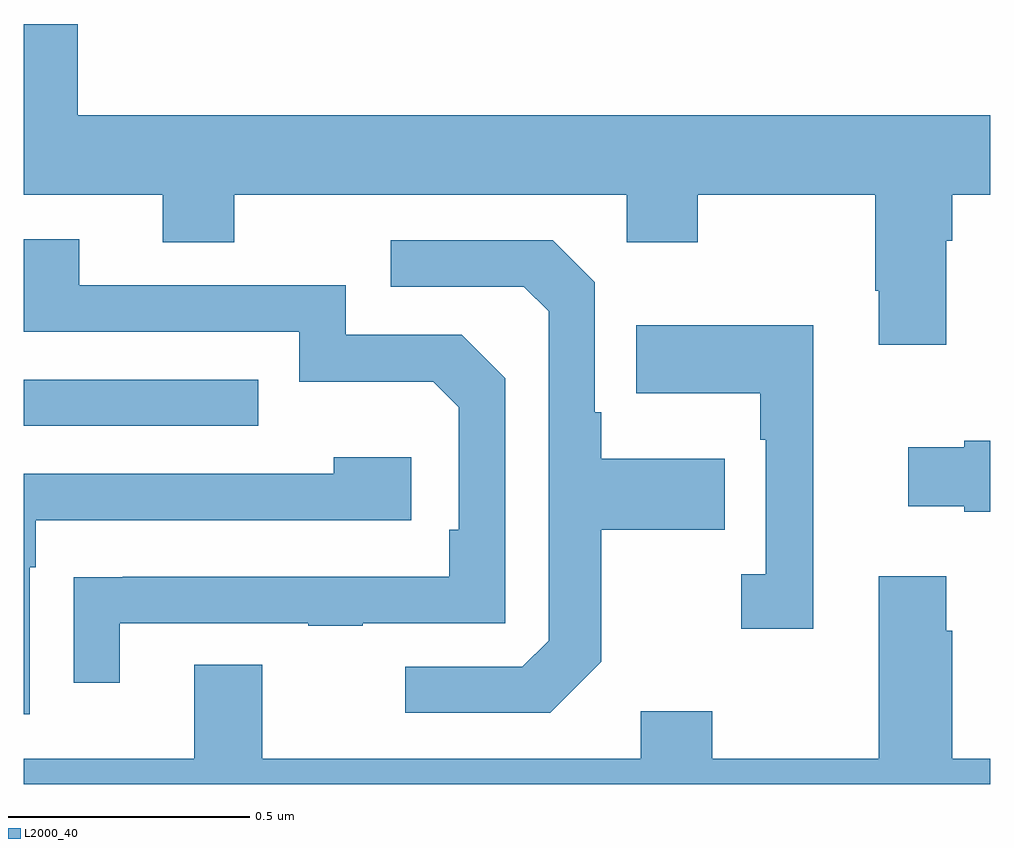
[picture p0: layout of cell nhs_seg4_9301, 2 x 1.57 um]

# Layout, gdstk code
import gdstk
lib = gdstk.Library(unit=1e-6, precision=1e-09)
def R(c, l, rs):  # rectangles x0, y0, x1, y1
    for r in rs: c.add(gdstk.rectangle(r[:2], r[2:], *l))
def P(c, l, *ps):  # polygons
    for p in ps: c.add(gdstk.Polygon(p, *l))
L2000_40 = (2000, 40)

nhs_seg4_9301 = lib.new_cell('nhs_seg4_9301')
R(nhs_seg4_9301, L2000_40, [(225,829.641,225.485,829.737)])
P(nhs_seg4_9301, L2000_40, [(226.909,830.024),(226.922,830.024),(226.922,830.12),(227,830.12),(227,830.284),(225.112,830.284),(225.112,830.473),(225,830.473),(225,830.12),(225.287,830.12),(225.287,830.021),(225.435,830.021),(225.435,830.12),(226.248,830.12),(226.248,830.021),(226.395,830.021),(226.395,830.12),(226.762,830.12),(226.762,829.921),(226.769,829.921),(226.769,829.809),(226.909,829.809)],
  [(225.199,829.233),(225.589,829.233),(225.589,829.228),(225.701,829.228),(225.701,829.233),(225.996,829.233),(225.996,829.74),(225.906,829.83),(225.666,829.83),(225.666,829.932),(225.115,829.932),(225.115,830.028),(225,830.028),(225,829.836),(225.57,829.836),(225.57,829.733),(225.847,829.733),(225.9,829.68),(225.9,829.426),(225.88,829.426),(225.88,829.329),(225.205,829.329),(225.205,829.328),(225.103,829.328),(225.103,829.11),(225.199,829.11)],
  [(226.195,829.153),(226.195,829.426),(226.451,829.426),(226.451,829.573),(226.195,829.573),(226.195,829.669),(226.182,829.669),(226.182,829.938),(226.095,830.025),(225.759,830.025),(225.759,829.929),(226.035,829.929),(226.086,829.878),(226.086,829.197),(226.032,829.143),(225.789,829.143),(225.789,829.047),(226.089,829.047)],
  [(226.634,829.849),(226.267,829.849),(226.267,829.709),(226.524,829.709),(226.524,829.613),(226.536,829.613),(226.536,829.334),(226.485,829.334),(226.485,829.221),(226.634,829.221)],
  [(227,829.61),(226.946,829.61),(226.946,829.597),(226.83,829.597),(226.83,829.475),(226.946,829.475),(226.946,829.463),(227,829.463)],
  [(225.012,829.349),(225.025,829.349),(225.025,829.446),(225.802,829.446),(225.802,829.576),(225.641,829.576),(225.641,829.542),(225,829.542),(225,829.044),(225.012,829.044)],
  [(226.769,829.33),(226.769,828.952),(226.425,828.952),(226.425,829.051),(226.277,829.051),(226.277,828.952),(225.493,828.952),(225.493,829.147),(225.353,829.147),(225.353,828.952),(225,828.952),(225,828.9),(227,828.9),(227,828.952),(226.922,828.952),(226.922,829.217),(226.909,829.217),(226.909,829.33)])

lib.write_gds('nhs_seg4_9301.gds')
